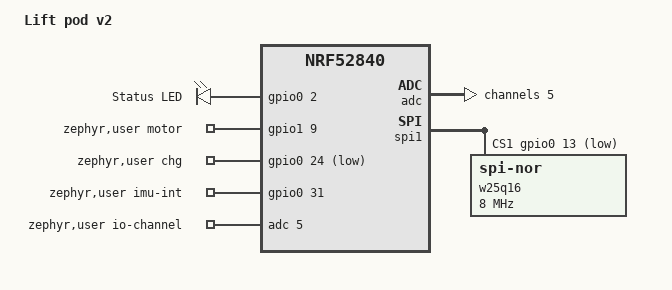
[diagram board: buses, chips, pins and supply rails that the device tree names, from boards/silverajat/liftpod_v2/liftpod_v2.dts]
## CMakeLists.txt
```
# Lift pod v2 firmware. Build (from a nRF Connect SDK workspace with hal_st):
#   west build -b liftpod_v2 firmware/pod -- -DBOARD_ROOT=<repo>/firmware/pod
# The recording format (storage.c) is shared with the XIAO prototype's logger.
cmake_minimum_required(VERSION 3.20.0)
find_package(Zephyr REQUIRED HINTS $ENV{ZEPHYR_BASE})
project(lift_pod)

target_sources(app PRIVATE src/main.c src/imu.c src/ble.c ../logger/src/storage.c)
target_include_directories(app PRIVATE src ../logger/src)
```

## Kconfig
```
# Lift pod v2 firmware
config LIFTPOD
	bool
	default y
	select HAS_STMEMSC
	select USE_STDC_LSM6DSV16X
	help
	  Pulls in ST's LSM6DSV16X register library (hal_st) for src/imu.c.

source "Kconfig.zephyr"
```

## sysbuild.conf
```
# MCUboot in front of the app, so updates can come over Bluetooth.
SB_CONFIG_BOOTLOADER_MCUBOOT=y
```

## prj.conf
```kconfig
# ---- Sensor and flash on SPI ----
CONFIG_SPI=y
CONFIG_FLASH=y
CONFIG_SPI_NOR=y
CONFIG_PM_DEVICE=y
CONFIG_ADC=y
CONFIG_GPIO=y
CONFIG_FPU=y

# ---- No UART, USB or shell on this board: logs over SWD (RTT) for bring-up ----
CONFIG_SERIAL=n
CONFIG_CONSOLE=n
CONFIG_UART_CONSOLE=n
CONFIG_LOG=y
CONFIG_USE_SEGGER_RTT=y
CONFIG_LOG_BACKEND_RTT=y
CONFIG_LOG_BACKEND_UART=n
# keep the whole boot log until a debugger reads it
CONFIG_SEGGER_RTT_BUFFER_SIZE_UP=8192
# Generous stacks: an overflow on a sealed pod is a restart you can't debug. (The Bluetooth receive
# thread runs every GATT callback; its 1 KB default was the tightest.)
CONFIG_MAIN_STACK_SIZE=4096
CONFIG_SYSTEM_WORKQUEUE_STACK_SIZE=3072
CONFIG_BT_RX_STACK_SIZE=2560
CONFIG_BT_TX_PROCESSOR_STACK_SIZE=1536
CONFIG_MPSL_WORK_STACK_SIZE=2048
CONFIG_LOG_PROCESS_THREAD_STACK_SIZE=1536
CONFIG_ISR_STACK_SIZE=3072
CONFIG_IDLE_STACK_SIZE=512

# ---- Bluetooth: same service and name as the prototype ----
CONFIG_BT=y
CONFIG_BT_PERIPHERAL=y
CONFIG_BT_DEVICE_NAME="LiftPod"
CONFIG_BT_MAX_CONN=1
CONFIG_BT_GAP_AUTO_UPDATE_CONN_PARAMS=n
# Big packets for downloading recordings (16 samples per notification)
CONFIG_BT_L2CAP_TX_MTU=247
CONFIG_BT_BUF_ACL_TX_SIZE=251
CONFIG_BT_BUF_ACL_RX_SIZE=251
CONFIG_BT_CTLR_DATA_LENGTH_MAX=251
CONFIG_BT_USER_DATA_LEN_UPDATE=y
CONFIG_BT_USER_PHY_UPDATE=y

# ---- Firmware updates over Bluetooth (MCUboot + MCUmgr SMP) ----
CONFIG_NCS_SAMPLE_MCUMGR_BT_OTA_DFU=y
CONFIG_REBOOT=y
# restart by itself if the firmware ever hangs (fed once a second from the main loop)
CONFIG_WATCHDOG=y
# why it last restarted, reported to the app
CONFIG_HWINFO=y
# the flash driver otherwise spins at full speed while an erase runs, starving everything else
CONFIG_SPI_NOR_SLEEP_WHILE_WAITING_UNTIL_READY=y
```

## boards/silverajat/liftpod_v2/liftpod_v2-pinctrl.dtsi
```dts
&pinctrl {
	spi1_default: spi1_default {
		group1 {
			psels = <NRF_PSEL(SPIM_SCK, 0, 5)>,
				<NRF_PSEL(SPIM_MOSI, 0, 1)>,
				<NRF_PSEL(SPIM_MISO, 0, 0)>;
		};
	};

	spi1_sleep: spi1_sleep {
		group1 {
			psels = <NRF_PSEL(SPIM_SCK, 0, 5)>,
				<NRF_PSEL(SPIM_MOSI, 0, 1)>,
				<NRF_PSEL(SPIM_MISO, 0, 0)>;
			low-power-enable;
		};
	};
};
```

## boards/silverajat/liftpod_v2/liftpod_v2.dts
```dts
/*
 * Lift pod v2 (hardware/pod-v2/SPEC.md): Ebyte E73 nRF52840 module, no USB, no button,
 * no 32 kHz crystal. One SPI bus: LSM6DSV16X IMU (CS P0.30, INT1 P0.31) and W25Q16 2 MB flash
 * (CS P0.13). Green status LED P0.02 (high = on), coin motor P1.09 (high = on, N-FET),
 * charger STAT P0.24 (low = charging), battery on AIN5 through a 1M/1M divider.
 */
/dts-v1/;
#include <nordic/nrf52840_qiaa.dtsi>
#include <nordic/nrf52840_partition.dtsi>
#include "liftpod_v2-pinctrl.dtsi"

/ {
	model = "Lift pod v2";
	compatible = "silverajat,liftpod-v2";

	leds {
		compatible = "gpio-leds";
		led0: led_0 {
			gpios = <&gpio0 2 GPIO_ACTIVE_HIGH>;
			label = "Status LED";
		};
	};

	aliases {
		led0 = &led0;
		rec-flash = &w25q16;
		watchdog0 = &wdt0;
	};

	zephyr,user {
		io-channels = <&adc 5>;
		motor-gpios = <&gpio1 9 GPIO_ACTIVE_HIGH>;
		chg-gpios = <&gpio0 24 (GPIO_ACTIVE_LOW | GPIO_PULL_UP)>;
		imu-int-gpios = <&gpio0 31 GPIO_ACTIVE_HIGH>;
	};
};

&gpiote {
	status = "okay";
};

&gpio0 {
	status = "okay";
};

&gpio1 {
	status = "okay";
};

&adc {
	status = "okay";
	#address-cells = <1>;
	#size-cells = <0>;

	/* VBAT / 2 on P0.29; 1M/1M with 100 nF, so a long acquisition time */
	channel@5 {
		reg = <5>;
		zephyr,gain = "ADC_GAIN_1_6";
		zephyr,reference = "ADC_REF_INTERNAL";
		zephyr,acquisition-time = <ADC_ACQ_TIME(ADC_ACQ_TIME_MICROSECONDS, 40)>;
		zephyr,input-positive = <NRF_SAADC_AIN5>;
		zephyr,resolution = <12>;
		zephyr,oversampling = <4>;
	};
};

&spi1 {
	compatible = "nordic,nrf-spim";
	status = "okay";
	pinctrl-0 = <&spi1_default>;
	pinctrl-1 = <&spi1_sleep>;
	pinctrl-names = "default", "sleep";
	cs-gpios = <&gpio0 30 GPIO_ACTIVE_LOW>, <&gpio0 13 GPIO_ACTIVE_LOW>;

	/* Driven by the firmware's own code (src/imu.c, ST's register library), not Zephyr's
	 * sensor driver: it needs the low-power wake-up mode. */
	imu: imu@0 {
		compatible = "st,lsm6dsv16x";
		status = "disabled";
		reg = <0>;
		spi-max-frequency = <8000000>;
	};

	w25q16: w25q16@1 {
		compatible = "jedec,spi-nor";
		reg = <1>;
		spi-max-frequency = <8000000>;
		jedec-id = [ef 40 15];
		size = <DT_SIZE_M(16)>;   /* bits: 2 MB */
		has-dpd;
		t-enter-dpd = <3000>;
		t-exit-dpd = <30000>;
	};
};

&uart0 {
	status = "disabled";
};

&i2c0 {
	status = "disabled";
};

&usbd {
	status = "disabled";
};

/* The last 1 KB of RAM is kept out of both images (MCUboot and the app): it holds the crash/hang record,
 * which has to survive the restart (src/main.c, RET_ADDR). */
&sram0 {
	reg = <0x20000000 DT_SIZE_K(255)>;
};
```

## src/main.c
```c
/*
 * Lift pod v2 firmware (hardware/pod-v2): the XIAO logger's recording format and Bluetooth
 * protocol, on the custom board, with power management.
 *
 * Asleep (most of the time)
 *   Sensor in low-power wake mode (gyro off, accel at 15 Hz), flash in deep power-down,
 *   CPU idle. Bluetooth advertises once a second, always, so the app can always find it.
 *   (It used to switch between fast, slow and off with movement; stopping and restarting the
 *   adverts around a connection locked up the Bluetooth controller: the restart loop of 28 Nov.)
 * Gym mode (the app sends OP_GYM 1 when a workout starts, or OP_START)
 *   Sensor at full rate, sampled at 100 Hz, live stream to the app, recordings on flash,
 *   fast Bluetooth link. Ends on OP_GYM 0 (workout finished), or GYM_LOST_MIN minutes after
 *   the app went away, or GYM_IDLE_MIN minutes without a set.
 * Always
 *   OP_BUZZ buzzes the motor; OP_READ sends a recording to the phone (no USB on this board);
 *   OP_ERASE clears the flash once the phone has everything. Firmware updates over Bluetooth
 *   (MCUboot + MCUmgr SMP), confirmed once this image has started cleanly.
 *
 * LED: one blink on connect and when gym mode starts, a short blink every 2 s while recording,
 * otherwise off. (The red LED is the charger's own.)
 */
#include <zephyr/device.h>
#include <zephyr/dfu/mcuboot.h>
#include <zephyr/drivers/adc.h>
#include <zephyr/drivers/gpio.h>
#include <zephyr/kernel.h>
#include <zephyr/logging/log.h>
#include <zephyr/pm/device.h>
#include <zephyr/sys/util.h>

#include "ble.h"
#include "imu.h"
#include "storage.h"
#include <zephyr/drivers/watchdog.h>
#include <zephyr/drivers/hwinfo.h>
#include <zephyr/fatal.h>
#include <zephyr/sys/reboot.h>
#include <zephyr/kernel_structs.h>
#include <cmsis_core.h>

LOG_MODULE_REGISTER(pod, LOG_LEVEL_INF);

/* ---- Crash and hang record ---------------------------------------------------------
 * The pod is sealed, so nothing can be read off it with a debugger. If it ever crashes or hangs,
 * what happened is kept in the last 1 KB of RAM (left out of both MCUboot's and this image's memory
 * map in the board file, and RAM keeps its contents through a reset), and reported to the app in
 * the status. A crash restarts it straight away; a hang restarts it after WDT_TIMEOUT_MS. */
#define RET_ADDR  0x2003FC00
#define RET_MAGIC 0x4C504F44u
struct retained {
	uint32_t magic;
	uint8_t restarts, kind, thread, step;
	int8_t prio;
	uint8_t reason;
	uint16_t up_s;
	uint32_t pc, lr;
	uint32_t check;
};
static volatile struct retained *const ret = (volatile struct retained *)RET_ADDR;

static uint32_t ret_sum(void)
{
	return ret->magic ^ (ret->restarts | ret->kind << 8 | ret->thread << 16 | (uint32_t)ret->step << 24) ^
	       ((uint8_t)ret->prio | ret->reason << 8 | (uint32_t)ret->up_s << 16) ^ ret->pc ^ (ret->lr * 3) ^
	       0x5A5A1234u;
}

/* where the main loop is, so a hang says what it was waiting on */
static volatile uint8_t step;
#define STEP(n) (step = (n))
enum { S_TOP = 1, S_CMD, S_LINK, S_IMU, S_TAPS, S_ADV, S_GYMLOST, S_LOCK, S_GYMIDLE, S_BATT, S_BLINK };

static k_tid_t main_tid;
extern const k_tid_t ble_tx;
extern const k_tid_t sampler;

/* 1 main, 2 sampler, 3 status/stream, 4 system work queue, 5 idle, 9 anything else (prio tells which) */
static uint8_t thread_code(k_tid_t t)
{
	return t == main_tid ? 1 : t == sampler ? 2 : t == ble_tx ? 3 : t == &k_sys_work_q.thread ? 4 :
	       t == _kernel.cpus[0].idle_thread ? 5 : 9;
}

static void record(uint8_t kind, uint8_t reason, uint32_t pc, uint32_t lr)
{
	k_tid_t t = k_current_get();

	ret->kind = kind;
	ret->reason = reason;
	ret->thread = thread_code(t);
	ret->prio = (int8_t)t->base.prio;
	ret->step = step;
	ret->up_s = (uint16_t)MIN(k_uptime_get() / 1000, 0xffff);
	ret->pc = pc;
	ret->lr = lr;
	ret->magic = RET_MAGIC;
	ret->check = ret_sum();
}

enum { FAULT_NONE = 0, FAULT_CRASH = 1, FAULT_HANG = 2 };

/* Any crash (bad memory access, stack overflow, a Bluetooth assert): note where, restart now. */
void k_sys_fatal_error_handler(unsigned int reason, const struct arch_esf *esf)
{
	record(FAULT_CRASH, (uint8_t)reason, esf ? esf->basic.pc : 0, esf ? esf->basic.lr : 0);
	sys_reboot(SYS_REBOOT_COLD);
	CODE_UNREACHABLE;
}

/* Watchdog: the main loop feeds it every second. Starved for WDT_TIMEOUT_MS, this runs just before
 * the chip restarts: it notes what was running (and where) and which step the main loop was stuck in. */
#define WDT_TIMEOUT_MS 15000
static const struct device *const wdt = DEVICE_DT_GET(DT_NODELABEL(wdt0));
static int wdt_ch = -1;

static void wdt_fired(const struct device *dev, int channel)
{
	const uint32_t *frame = (const uint32_t *)__get_PSP();   /* the interrupted thread's saved registers */

	ARG_UNUSED(dev);
	ARG_UNUSED(channel);
	record(FAULT_HANG, 0, frame ? frame[6] : 0, frame ? frame[5] : 0);
}

static void wdt_start(void)
{
	struct wdt_timeout_cfg cfg = {
		.window = { .min = 0, .max = WDT_TIMEOUT_MS },
		.flags = WDT_FLAG_RESET_SOC,
		.callback = wdt_fired,
	};

	if (!device_is_ready(wdt)) {
		return;
	}
	wdt_ch = wdt_install_timeout(wdt, &cfg);
	if (wdt_ch < 0 || wdt_setup(wdt, WDT_OPT_PAUSE_HALTED_BY_DBG) != 0) {
		LOG_ERR("watchdog not started");
		wdt_ch = -1;
	}
}

void pod_wdt_feed(void)
{
	if (wdt_ch >= 0) {
		wdt_feed(wdt, wdt_ch);
	}
}

#define SAMPLE_HZ       100     /* same as the prototype: the training data carries over */
#define FW_VERSION      3       /* 3 = pod v2 */
#define STOP_STILL_S    12      /* app gone mid-set: close it after this much stillness */
#define MAX_REC_S       300     /* safety cap per recording */
#define GYM_LOST_MIN    5       /* in gym mode with the app gone this long: back to sleep */
#define GYM_IDLE_MIN    45      /* in gym mode with no set this long (finish forgotten): back to sleep */
#define MOVE_GYRO_DPS   40
#define MOVE_ACCEL_MG   150

/* ---- Hardware ------------------------------------------------------------------- */
static const struct gpio_dt_spec led = GPIO_DT_SPEC_GET(DT_ALIAS(led0), gpios);
static const struct gpio_dt_spec motor = GPIO_DT_SPEC_GET(DT_PATH(zephyr_user), motor_gpios);
static const struct gpio_dt_spec chg = GPIO_DT_SPEC_GET(DT_PATH(zephyr_user), chg_gpios);
static const struct adc_dt_spec batt_adc = ADC_DT_SPEC_GET_BY_IDX(DT_PATH(zephyr_user), 0);
static const struct device *const flash = DEVICE_DT_GET(DT_ALIAS(rec_flash));

/* ---- State ------------------------------------------------------------------------ */
K_MUTEX_DEFINE(store_lock);              /* every storage_* call (also used by ble.c) */
K_SEM_DEFINE(gym_sem, 0, 1);             /* wakes the sampler when gym mode starts */
K_MSGQ_DEFINE(rec_q, sizeof(struct app_cmd), 4, 4);   /* start/stop, handled by the sampler */

static volatile bool gym, fault, imu_ok, busy;
static volatile int batt_cache_mv;
static volatile uint32_t rec_len;
static volatile bool rec_from_app;

/* ---- Flash power: deep power-down whenever nothing needs it ------------------------- */
static void flash_power(bool on)
{
	if (on) {
		/* Always send the wake-up command, even if the driver thinks the chip is already awake: a chip left
		 * in deep power-down answers every status read with "busy", and the driver would wait forever. */
		pm_device_action_run(flash, PM_DEVICE_ACTION_SUSPEND);
		pm_device_action_run(flash, PM_DEVICE_ACTION_RESUME);
	} else {
		pm_device_action_run(flash, PM_DEVICE_ACTION_SUSPEND);
	}
}

void storage_yield(void)
{
	pod_wdt_feed();
}

/* ---- Recording (sampler thread only) ---------------------------------------------- */
static int start_recording(const struct set_label *label)
{
	k_mutex_lock(&store_lock, K_FOREVER);
	int err = storage_begin(SAMPLE_HZ, 0, label);

	k_mutex_unlock(&store_lock);
	if (err) {
		LOG_ERR("could not start recording (%d)", err);
		fault = true;
		return err;
	}
	rec_len = 0;
	rec_from_app = label != NULL;
	ble_status_changed();
	return 0;
}

static void stop_recording(void)
{
	k_mutex_lock(&store_lock, K_FOREVER);
	int err = storage_end();

	k_mutex_unlock(&store_lock);
	fault = fault || err != 0;
	ble_status_changed();
}

static void set_reps(uint32_t id, uint8_t live, uint8_t confirmed)
{
	k_mutex_lock(&store_lock, K_FOREVER);
	storage_set_reps(id, live, confirmed);
	k_mutex_unlock(&store_lock);
}

static bool is_moving(const struct sample *s)
{
	int32_t g2 = 0, a2 = 0;

	for (int i = 0; i < 3; i++) {
		g2 += (int32_t)s->g_ddps[i] * s->g_ddps[i];
		a2 += (int32_t)s->a_mg[i] * s->a_mg[i];
	}
	const int32_t gl = MOVE_GYRO_DPS * 10, lo = 1000 - MOVE_ACCEL_MG, hi = 1000 + MOVE_ACCEL_MG;

	return g2 > gl * gl || a2 < lo * lo || a2 > hi * hi;
}

/* Start/stop from the app, in the sampler so it never races the recording. */
static bool handle_rec_cmds(bool recording)
{
	struct app_cmd c;

	while (k_msgq_get(&rec_q, &c, K_NO_WAIT) == 0) {
		if (c.op == OP_START) {
			if (recording) {
				stop_recording();
				recording = false;
			}
			if (!fault && start_recording(&c.label) == 0) {
				recording = true;
			}
		} else if (c.op == OP_STOP && recording) {
			stop_recording();
			recording = false;
			k_mutex_lock(&store_lock, K_FOREVER);
			uint32_t n = storage_count();

			k_mutex_unlock(&store_lock);
			if (c.reps != 0xff && n > 0) {
				set_reps(n - 1, c.reps, 0xff);
			}
		}
	}
	return recording;
}

K_TIMER_DEFINE(sample_timer, NULL, NULL);

static void sampling_thread(void)
{
	while (true) {
		if (!gym) {
			k_sem_take(&gym_sem, K_FOREVER);
			continue;
		}
		uint32_t still_run = 0;
		bool recording = false;

		k_timer_start(&sample_timer, K_USEC(1000000 / SAMPLE_HZ), K_USEC(1000000 / SAMPLE_HZ));
		while (gym) {
			k_timer_status_sync(&sample_timer);
			struct sample s;

			recording = handle_rec_cmds(recording);
			if (imu_read(&s) != 0) {
				continue;
			}
			still_run = is_moving(&s) ? 0 : still_run + 1;
			ble_stream_sample(&s);
			if (!recording) {
				continue;
			}
			k_mutex_lock(&store_lock, K_FOREVER);
			int err = storage_append(&s);

			k_mutex_unlock(&store_lock);
			rec_len++;
			bool app_lost = !ble_connected() && still_run >= STOP_STILL_S * SAMPLE_HZ;

			if (err || app_lost || rec_len >= MAX_REC_S * SAMPLE_HZ) {
				fault = fault || err != 0;
				stop_recording();
				recording = false;
			}
		}
		k_timer_stop(&sample_timer);
		if (recording) {
			stop_recording();
		}
		k_msgq_purge(&rec_q);
	}
}

K_THREAD_DEFINE(sampler, 3072, sampling_thread, NULL, NULL, NULL, K_PRIO_PREEMPT(2), 0, 0);

/* ---- Battery and charging ------------------------------------------------------------ */
static int batt_mv(void)
{
	int16_t raw;
	struct adc_sequence seq = { .buffer = &raw, .buffer_size = sizeof(raw) };
	int32_t mv;

	adc_sequence_init_dt(&batt_adc, &seq);
	if (adc_read_dt(&batt_adc, &seq) != 0) {
		return -EIO;
	}
	mv = raw;
	if (adc_raw_to_millivolts_dt(&batt_adc, &mv) != 0) {
		return -EIO;
	}
	return mv * 2;               /* 1M / 1M divider */
}

static bool charging(void)
{
	return gpio_pin_get_dt(&chg) == 1;   /* active low in the devicetree */
}

/* Why the pod last started, how many times it has restarted since it was powered up, and what ended
 * the previous run if it crashed or hung (the record above). */
static uint8_t reset_why, restarts;
static struct retained last;

static void note_reset(void)
{
	uint32_t cause = 0;

	hwinfo_get_reset_cause(&cause);
	hwinfo_clear_reset_cause();
	/* no reset flag at all: the power came on (or dipped too low), and RAM holds nothing worth reading */
	bool valid = cause != 0 && ret->magic == RET_MAGIC && ret->check == ret_sum();

	if (cause & RESET_WATCHDOG) {
		reset_why = RST_WATCHDOG;
	} else if (cause & RESET_CPU_LOCKUP) {
		reset_why = RST_LOCKUP;
	} else if (cause & RESET_SOFTWARE) {
		reset_why = RST_SOFT;
	} else if (cause & RESET_PIN) {
		reset_why = RST_PIN;
	} else if (cause == 0) {
		reset_why = RST_POWER;
	} else {
		reset_why = RST_OTHER;
	}
	if (valid) {
		last = *(struct retained *)ret;
		restarts = MIN(last.restarts + 1, 0x7f);
	} else {
		memset(&last, 0, sizeof(last));
		restarts = 0;
	}
	ret->restarts = restarts;
	ret->kind = FAULT_NONE;
	ret->magic = RET_MAGIC;
	ret->check = ret_sum();
	LOG_INF("started: reason %u (cause 0x%x), restart %u, last fault %u in %u/%u at 0x%08x", reset_why, cause,
		restarts, last.kind, last.thread, last.step, last.pc);
}

void pod_fill_status(struct pod_status *st)
{
	k_mutex_lock(&store_lock, K_FOREVER);
	bool rec = storage_recording();
	uint32_t n = storage_count();
	uint32_t used = storage_bytes_used(), total = storage_bytes_total();

	k_mutex_unlock(&store_lock);
	*st = (struct pod_status){
		.proto = POD_PROTO_VERSION,
		.flags = (rec ? ST_RECORDING : 0) | (charging() ? ST_CHARGING : 0) |
			 (fault ? ST_FAULT : 0) | (imu_ok ? ST_IMU_OK : 0) |
			 (rec && rec_from_app ? ST_APP_REC : 0) | (gym ? ST_GYM : 0),
		.batt_mv = (uint16_t)MAX(batt_cache_mv, 0),
		.n_recs = (uint16_t)n,
		.last_rec = n ? (uint16_t)(n - 1) : 0xffff,
		.rec_samples = rec ? rec_len : 0,
		.flash_pct = total ? (uint8_t)(used * 100ull / total) : 0,
		.fw = FW_VERSION,
		.hw = POD_HW,
		.busy = busy,
		.taps = imu_taps(),
		.uptime_s = (uint32_t)(k_uptime_get() / 1000),
		.reset_why = reset_why,
		.restarts = restarts,
		.fault_kind = last.kind,
		.fault_thread = last.thread,
		.fault_step = last.step,
		.fault_reason = last.reason,
		.fault_prio = last.prio,
		.fault_up_s = last.up_s,
		.fault_pc = last.pc,
	};
}

/* ---- Modes ----------------------------------------------------------------------------- */
static void blink(int ms)
{
	gpio_pin_set_dt(&led, 1);
	k_msleep(ms);
	gpio_pin_set_dt(&led, 0);
}

static void buzz(int count)
{
	for (int i = 0; i < count; i++) {
		gpio_pin_set_dt(&motor, 1);
		k_msleep(180);
		gpio_pin_set_dt(&motor, 0);
		k_msleep(150);
	}
}

static void set_gym(bool on)
{
	if (on == gym) {
		return;
	}
	if (on) {
		flash_power(true);
		if (imu_ok) {
			imu_active(true);
		}
		gym = true;
		k_sem_give(&gym_sem);
		ble_fast_link(true);
		blink(60);
	} else {
		gym = false;                       /* the sampler closes any open recording */
		k_msleep(50);
		/* and don't put the flash to sleep under it while it's still closing one (up to 2 s) */
		for (int i = 0; i < 40; i++) {
			k_mutex_lock(&store_lock, K_FOREVER);
			bool open = storage_recording();

			k_mutex_unlock(&store_lock);
			if (!open) {
				break;
			}
			k_msleep(50);
		}
		if (imu_ok) {
			imu_active(false);
		}
		k_mutex_lock(&store_lock, K_FOREVER);
		flash_power(false);
		k_mutex_unlock(&store_lock);
		ble_fast_link(false);
	}
	LOG_INF("gym mode %s", on ? "on" : "off");
	ble_status_changed();
}

static int64_t last_set;          /* last start/stop/gym-on from the app */

/* Commands that aren't start/stop run here, in the main thread. */
static void handle_cmd(const struct app_cmd *c)
{
	if (c->op == OP_START || c->op == OP_STOP || (c->op == OP_GYM && c->on)) {
		last_set = k_uptime_get();
	}
	switch (c->op) {
	case OP_START:
		set_gym(true);
		k_msgq_put(&rec_q, c, K_NO_WAIT);
		break;
	case OP_STOP:
		k_msgq_put(&rec_q, c, K_NO_WAIT);
		break;
	case OP_CONFIRM:
		flash_power(true);
		set_reps(c->rec_id, 0xff, c->reps);
		if (!gym) {
			flash_power(false);
		}
		break;
	case OP_GYM:
		set_gym(c->on);
		break;
	case OP_BUZZ:
		buzz(c->reps);
		break;
	case OP_READ: {
		busy = true;
		ble_status_changed();
		flash_power(true);
		ble_fast_link(true);
		int err = ble_send_recording(c->rec_id, c->from);

		if (err) {
			LOG_WRN("sending recording %u failed (%d)", c->rec_id, err);
		}
		if (!gym) {
			flash_power(false);
			ble_fast_link(false);
		}
		busy = false;
		break;
	}
	case OP_ERASE:
		if (gym) {
			break;                         /* never while a workout could be recording */
		}
		busy = true;
		ble_status_changed();
		flash_power(true);
		k_mutex_lock(&store_lock, K_FOREVER);
		fault = storage_erase_all() != 0;
		k_mutex_unlock(&store_lock);
		flash_power(false);
		busy = false;
		break;
	default:
		break;                             /* OP_AUTO: no motion-triggered recording on v2 */
	}
	ble_status_changed();
}

int main(void)
{
	main_tid = k_current_get();
	note_reset();
	gpio_pin_configure_dt(&led, GPIO_OUTPUT_INACTIVE);
	gpio_pin_configure_dt(&motor, GPIO_OUTPUT_INACTIVE);
	gpio_pin_configure_dt(&chg, GPIO_INPUT);
	adc_channel_setup_dt(&batt_adc);

	k_mutex_lock(&store_lock, K_FOREVER);
	fault = storage_init() != 0;
	k_mutex_unlock(&store_lock);
	flash_power(false);

	imu_ok = imu_init() == 0;
	if (!imu_ok) {
		LOG_ERR("IMU did not start (WHO_AM_I %d)", imu_who_am_i());
	}
	batt_cache_mv = batt_mv();
	int bt = ble_init();

	/* A fresh update is only kept once it has started cleanly; otherwise MCUboot rolls back. */
	bool new_image = !boot_is_img_confirmed();

	if (bt == 0 && imu_ok) {
		boot_write_img_confirmed();
	}
	/* Hello blink and buzz only when you'd expect one: first power-up, or a new firmware. A restart on its own
	 * (the watchdog, a crash) stays silent, so a fault can never turn into buzzing on your wrist; the reason
	 * and the count go to the app instead (Settings). And no buzz on a nearly flat cell, which could dip it
	 * enough to restart again. */
	if (reset_why == RST_POWER || reset_why == RST_PIN || new_image) {
		blink(200);
		if (batt_cache_mv == 0 || batt_cache_mv > 3500) {
			buzz(1);
		}
	}

	int64_t last_app = k_uptime_get();
	bool was_connected = false;
	uint8_t seen_taps = imu_taps();

	wdt_start();
	for (uint32_t t = 0;; t++) {
		struct app_cmd c;

		pod_wdt_feed();
		STEP(S_TOP);

		/* one tick a second, sooner when the app sends something */
		if (ble_get_cmd(&c, K_SECONDS(1))) {
			STEP(S_CMD);
			handle_cmd(&c);
			last_app = k_uptime_get();
			continue;
		}
		int64_t now = k_uptime_get();
		bool connected = ble_connected();

		if (connected) {
			last_app = now;
			if (!was_connected) {
				blink(40);
			}
		}
		was_connected = connected;
		/* (No link-speed request on connect: the app only stays connected in the gym, and that request
		 * is the one change in the build where the restarts began.) */
		STEP(S_IMU);
		imu_poll();
		/* tapped twice: tell the app now (it ends the set) and buzz once so you know it took */
		STEP(S_TAPS);
		uint8_t taps = imu_taps();

		if (taps != seen_taps) {
			seen_taps = taps;
			ble_status_changed();
			gpio_pin_set_dt(&motor, 1);
			k_msleep(70);
			gpio_pin_set_dt(&motor, 0);
		}
		(void)imu_take_wake();   /* motion no longer changes anything here (see ble.c, advertising) */

		STEP(S_GYMLOST);
		/* gym mode with the app gone: back to sleep */
		if (gym && !connected && now - last_app > GYM_LOST_MIN * 60 * 1000LL) {
			set_gym(false);
		}
		STEP(S_LOCK);
		k_mutex_lock(&store_lock, K_FOREVER);
		bool rec = storage_recording();
		k_mutex_unlock(&store_lock);

		STEP(S_GYMIDLE);
		/* gym mode but no set for ages (workout never finished in the app): back to sleep */
		if (gym && !rec && now - last_set > GYM_IDLE_MIN * 60 * 1000LL) {
			set_gym(false);
		}

		/* battery: every 10 s in the gym, every minute otherwise */
		STEP(S_BATT);
		if (t % (gym ? 10 : 60) == 0) {
			batt_cache_mv = batt_mv();
		}
		STEP(S_BLINK);
		if (rec && t % 2 == 0) {
			blink(15);
		}
		if ((fault || !imu_ok) && t % 5 == 0) {
			blink(15);
			k_msleep(150);
			blink(15);
		}
	}
	return 0;
}
```

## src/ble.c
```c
/*
 * ble.c - "Lift Pod" GATT service for pod v2. See ble.h for the protocol.
 *
 * Writes from the phone go into a queue that the command thread (main.c) drains.
 * Status and the live stream go out from a low-priority thread, so the radio never delays
 * sampling. Recordings go out on Data from the command thread, a few notifications in flight
 * at a time, so a long download can't starve the stream or status.
 */
#include "ble.h"

#include <string.h>
#include <zephyr/bluetooth/bluetooth.h>
#include <zephyr/bluetooth/conn.h>
#include <zephyr/bluetooth/gatt.h>
#include <zephyr/bluetooth/uuid.h>
#include <zephyr/kernel.h>
#include <zephyr/logging/log.h>
#include <zephyr/sys/byteorder.h>

LOG_MODULE_REGISTER(ble, LOG_LEVEL_INF);

#define LT_UUID(n) BT_UUID_128_ENCODE(0x4c540000 + (n), 0x7c3e, 0x4f6b, 0x9a1e, 0x5f2b6c0d4e11)

static const struct bt_uuid_128 svc_uuid = BT_UUID_INIT_128(LT_UUID(1));
static const struct bt_uuid_128 ctrl_uuid = BT_UUID_INIT_128(LT_UUID(2));
static const struct bt_uuid_128 status_uuid = BT_UUID_INIT_128(LT_UUID(3));
static const struct bt_uuid_128 stream_uuid = BT_UUID_INIT_128(LT_UUID(4));
static const struct bt_uuid_128 data_uuid = BT_UUID_INIT_128(LT_UUID(5));

K_MSGQ_DEFINE(cmd_q, sizeof(struct app_cmd), 8, 4);
K_MSGQ_DEFINE(stream_q, sizeof(struct stream_pkt), 16, 2);
K_SEM_DEFINE(status_sem, 0, 1);
K_SEM_DEFINE(data_credits, 4, 4);        /* notifications in flight on Data */

static struct bt_conn *conn;
static struct k_spinlock conn_lock;
static volatile bool status_on, stream_on, data_on;
static uint16_t stream_seq;
static uint32_t stream_div;

/* ---- Control ------------------------------------------------------------------ */
static ssize_t ctrl_write(struct bt_conn *c, const struct bt_gatt_attr *attr,
			  const void *buf, uint16_t len, uint16_t offset, uint8_t flags)
{
	const uint8_t *p = buf;
	struct app_cmd cmd = { 0 };

	if (offset != 0 || len < 1) {
		return BT_GATT_ERR(BT_ATT_ERR_INVALID_ATTRIBUTE_LEN);
	}
	cmd.op = p[0];
	switch (p[0]) {
	case OP_START: {
		struct op_start s;

		if (len < sizeof(s)) {
			return BT_GATT_ERR(BT_ATT_ERR_INVALID_ATTRIBUTE_LEN);
		}
		memcpy(&s, p, sizeof(s));
		cmd.label = (struct set_label){
			.unix_time = s.unix_time,
			.session_id = s.session_id,
			.weight_cg = s.weight_cg,
			.exercise = s.exercise,
			.day = s.day,
			.set_no = s.set_no,
			.flags = (s.flags & (LABEL_WARMUP | LABEL_CALIB)) | LABEL_FROM_APP,
			.rsvd = 0xffff,
		};
		break;
	}
	case OP_STOP:
		cmd.reps = len >= 2 ? p[1] : 0xff;
		break;
	case OP_CONFIRM:
		if (len < 4) {
			return BT_GATT_ERR(BT_ATT_ERR_INVALID_ATTRIBUTE_LEN);
		}
		cmd.rec_id = sys_get_le16(&p[1]);
		cmd.reps = p[3];
		break;
	case OP_AUTO:
	case OP_GYM:
		if (len < 2) {
			return BT_GATT_ERR(BT_ATT_ERR_INVALID_ATTRIBUTE_LEN);
		}
		cmd.on = p[1] != 0;
		break;
	case OP_BUZZ:
		cmd.reps = len >= 2 ? MIN(p[1], 5) : 1;
		break;
	case OP_READ:
		if (len < 7) {
			return BT_GATT_ERR(BT_ATT_ERR_INVALID_ATTRIBUTE_LEN);
		}
		cmd.rec_id = sys_get_le16(&p[1]);
		cmd.from = sys_get_le32(&p[3]);
		break;
	case OP_ERASE:
		if (len < 2 || p[1] != 0xE5) {     /* a magic byte, so a stray write can't wipe it */
			return BT_GATT_ERR(BT_ATT_ERR_VALUE_NOT_ALLOWED);
		}
		break;
	default:
		return BT_GATT_ERR(BT_ATT_ERR_NOT_SUPPORTED);
	}
	if (k_msgq_put(&cmd_q, &cmd, K_NO_WAIT) != 0) {
		return BT_GATT_ERR(BT_ATT_ERR_PREPARE_QUEUE_FULL);
	}
	return len;
}

static ssize_t status_read(struct bt_conn *c, const struct bt_gatt_attr *attr,
			   void *buf, uint16_t len, uint16_t offset)
{
	struct pod_status st;

	pod_fill_status(&st);
	return bt_gatt_attr_read(c, attr, buf, len, offset, &st, sizeof(st));
}

static void status_ccc(const struct bt_gatt_attr *attr, uint16_t value)
{
	status_on = value == BT_GATT_CCC_NOTIFY;
	ble_status_changed();
}

static void stream_ccc(const struct bt_gatt_attr *attr, uint16_t value)
{
	stream_on = value == BT_GATT_CCC_NOTIFY;
}

static void data_ccc(const struct bt_gatt_attr *attr, uint16_t value)
{
	data_on = value == BT_GATT_CCC_NOTIFY;
}

/* attrs: 0 service | 1,2 control | 3,4,5 status | 6,7,8 stream | 9,10,11 data */
BT_GATT_SERVICE_DEFINE(pod_svc,
	BT_GATT_PRIMARY_SERVICE(&svc_uuid),
	BT_GATT_CHARACTERISTIC(&ctrl_uuid.uuid,
			       BT_GATT_CHRC_WRITE | BT_GATT_CHRC_WRITE_WITHOUT_RESP,
			       BT_GATT_PERM_WRITE, NULL, ctrl_write, NULL),
	BT_GATT_CHARACTERISTIC(&status_uuid.uuid,
			       BT_GATT_CHRC_READ | BT_GATT_CHRC_NOTIFY,
			       BT_GATT_PERM_READ, status_read, NULL, NULL),
	BT_GATT_CCC(status_ccc, BT_GATT_PERM_READ | BT_GATT_PERM_WRITE),
	BT_GATT_CHARACTERISTIC(&stream_uuid.uuid, BT_GATT_CHRC_NOTIFY,
			       BT_GATT_PERM_NONE, NULL, NULL, NULL),
	BT_GATT_CCC(stream_ccc, BT_GATT_PERM_READ | BT_GATT_PERM_WRITE),
	BT_GATT_CHARACTERISTIC(&data_uuid.uuid, BT_GATT_CHRC_NOTIFY,
			       BT_GATT_PERM_NONE, NULL, NULL, NULL),
	BT_GATT_CCC(data_ccc, BT_GATT_PERM_READ | BT_GATT_PERM_WRITE),
);

/* ---- Advertising ---------------------------------------------------------------- */
static const struct bt_data ad[] = {
	BT_DATA_BYTES(BT_DATA_FLAGS, (BT_LE_AD_GENERAL | BT_LE_AD_NO_BREDR)),
	BT_DATA_BYTES(BT_DATA_UUID128_ALL, LT_UUID(1)),
};

static const struct bt_data sd[] = {
	BT_DATA(BT_DATA_NAME_COMPLETE, CONFIG_BT_DEVICE_NAME, sizeof(CONFIG_BT_DEVICE_NAME) - 1),
};

/* One advert a second (~10-20 uA), connectable, started once at boot and again only after a disconnect
 * (the stack doesn't resume it on its own). Never stopped or switched between rates: stopping and
 * restarting adverts while the phone was connecting or letting go locked up the controller (the hang
 * the crash record caught on 28 Nov was inside its advertising on/off command). */
#define ADV_PARAM BT_LE_ADV_PARAM(BT_LE_ADV_OPT_CONN, BT_GAP_ADV_SLOW_INT_MIN, BT_GAP_ADV_SLOW_INT_MAX, NULL)

static void adv_apply(struct k_work *w)
{
	if (conn) {
		return;
	}
	int err = bt_le_adv_start(ADV_PARAM, ad, ARRAY_SIZE(ad), sd, ARRAY_SIZE(sd));

	if (err && err != -EALREADY) {
		LOG_ERR("advertising failed (%d)", err);
	} else {
		LOG_INF("advertising");
	}
}
K_WORK_DEFINE(adv_work, adv_apply);

/* ---- Connections ------------------------------------------------------------------ */
static struct bt_conn *conn_get(void)
{
	k_spinlock_key_t key = k_spin_lock(&conn_lock);
	struct bt_conn *c = conn ? bt_conn_ref(conn) : NULL;

	k_spin_unlock(&conn_lock, key);
	return c;
}

static void on_connected(struct bt_conn *c, uint8_t err)
{
	if (err) {
		return;
	}
	k_spinlock_key_t key = k_spin_lock(&conn_lock);

	conn = bt_conn_ref(c);
	k_spin_unlock(&conn_lock, key);
	LOG_INF("app connected");
	ble_status_changed();
}

static void on_disconnected(struct bt_conn *c, uint8_t reason)
{
	LOG_INF("app disconnected (0x%02x)", reason);
	k_spinlock_key_t key = k_spin_lock(&conn_lock);
	struct bt_conn *old = conn;

	conn = NULL;
	status_on = stream_on = data_on = false;
	k_spin_unlock(&conn_lock, key);
	if (old) {
		bt_conn_unref(old);
	}
	/* free any download that was waiting on credits */
	for (int i = 0; i < 4; i++) {
		k_sem_give(&data_credits);
	}
}

static void on_recycled(void)
{
	k_work_submit(&adv_work);
}

BT_CONN_CB_DEFINE(conn_cbs) = {
	.connected = on_connected,
	.disconnected = on_disconnected,
	.recycled = on_recycled,
};

void ble_fast_link(bool fast)
{
	struct bt_conn *c = conn_get();

	if (!c) {
		return;
	}
	/* 15-30 ms for the live stream and downloads; 100-200 ms with latency 4 otherwise. */
	const struct bt_le_conn_param *p = fast ? BT_LE_CONN_PARAM(12, 24, 0, 400)
						: BT_LE_CONN_PARAM(80, 160, 4, 600);

	bt_conn_le_param_update(c, p);
	bt_conn_unref(c);
}

/* ---- Public API ------------------------------------------------------------------- */
bool ble_connected(void)
{
	return conn != NULL;
}

bool ble_get_cmd(struct app_cmd *out, k_timeout_t wait)
{
	return k_msgq_get(&cmd_q, out, wait) == 0;
}

void ble_stream_sample(const struct sample *s)
{
	if (!stream_on || ++stream_div < 4) {
		return;
	}
	stream_div = 0;

	struct stream_pkt p = { .seq = stream_seq++ };

	memcpy(p.a_mg, s->a_mg, sizeof(p.a_mg));
	memcpy(p.g_ddps, s->g_ddps, sizeof(p.g_ddps));
	k_msgq_put(&stream_q, &p, K_NO_WAIT);
}

void ble_status_changed(void)
{
	k_sem_give(&status_sem);
}

/* ---- Recordings to the phone ------------------------------------------------------ */
static void data_sent(struct bt_conn *c, void *user_data)
{
	k_sem_give(&data_credits);
}

static int data_notify(struct bt_conn *c, const void *buf, uint16_t len)
{
	if (k_sem_take(&data_credits, K_SECONDS(5)) != 0 || !data_on) {
		return -ETIMEDOUT;
	}
	struct bt_gatt_notify_params np = {
		.attr = &pod_svc.attrs[10],
		.data = buf,
		.len = len,
		.func = data_sent,
	};
	int err;

	/* the stack can be short of buffers for a moment: retry briefly */
	for (int i = 0; i < 50; i++) {
		err = bt_gatt_notify_cb(c, &np);
		if (err != -ENOMEM) {
			break;
		}
		k_msleep(5);
	}
	if (err) {
		k_sem_give(&data_credits);
	}
	return err;
}

/* storage.c, guarded by main.c's lock */
extern struct k_mutex store_lock;

int ble_send_recording(uint16_t rec_id, uint32_t from)
{
	static uint8_t buf[247];
	struct data_pkt *pk = (struct data_pkt *)buf;
	struct bt_conn *c = conn_get();
	struct rec_info r;
	int err = 0;

	if (!c) {
		return -ENOTCONN;
	}
	uint16_t mtu = bt_gatt_get_mtu(c);
	uint16_t room = MIN((uint16_t)(mtu - 3), sizeof(buf)) - sizeof(struct data_pkt);
	uint8_t per = MAX(1, room / sizeof(struct sample));

	k_mutex_lock(&store_lock, K_FOREVER);
	err = storage_get(rec_id, &r);
	struct data_info info = { 0 };

	if (!err) {
		info = (struct data_info){
			.rec_id = r.rec_id, .n_samples = r.n_samples, .pretrigger = r.pretrigger,
			.start_uptime_s = r.start_uptime_s, .sample_hz = r.sample_hz,
		};
		storage_get_label(rec_id, &info.label, &info.result);
	}
	k_mutex_unlock(&store_lock);

	*pk = (struct data_pkt){ .rec_id = rec_id, .kind = err ? DATA_ERROR : DATA_HEADER, .index = 0 };
	memcpy(pk->payload, &info, sizeof(info));
	err = data_notify(c, buf, sizeof(*pk) + (pk->kind == DATA_HEADER ? sizeof(info) : 0)) ?: err;
	if (err || pk->kind == DATA_ERROR) {
		bt_conn_unref(c);
		return err ? err : -ENOENT;
	}

	uint32_t i = from;

	while (i < r.n_samples) {
		pod_wdt_feed();
		uint8_t n = (uint8_t)MIN(per, r.n_samples - i);

		*pk = (struct data_pkt){ .rec_id = rec_id, .kind = DATA_SAMPLES, .n = n, .index = i };
		k_mutex_lock(&store_lock, K_FOREVER);
		for (uint8_t k = 0; k < n && !err; k++) {
			err = storage_read_sample(&r, i + k, (struct sample *)&pk->payload[k * sizeof(struct sample)]);
		}
		k_mutex_unlock(&store_lock);
		if (err || (err = data_notify(c, buf, sizeof(*pk) + n * sizeof(struct sample))) != 0) {
			break;
		}
		i += n;
	}
	*pk = (struct data_pkt){ .rec_id = rec_id, .kind = err ? DATA_ERROR : DATA_END, .index = i };
	data_notify(c, buf, sizeof(*pk));
	bt_conn_unref(c);
	return err;
}

/* ---- Status and stream thread ------------------------------------------------------ */
static void ble_thread(void)
{
	int64_t next_status = 0;

	while (true) {
		struct stream_pkt p;

		if (!conn) {      /* nothing to send: sleep until something pokes us (a connection does) */
			k_sem_take(&status_sem, K_FOREVER);
			next_status = 0;
			continue;
		}
		bool got = k_msgq_get(&stream_q, &p, K_MSEC(250)) == 0;
		bool poke = k_sem_take(&status_sem, K_NO_WAIT) == 0;
		struct bt_conn *c = conn_get();

		if (!c) {
			continue;
		}
		if (got && stream_on) {
			bt_gatt_notify(c, &pod_svc.attrs[7], &p, sizeof(p));
		}
		if ((poke || k_uptime_get() >= next_status) && status_on) {
			struct pod_status st;

			pod_fill_status(&st);
			/* the diagnostics at the end only fit once the phone has asked for a bigger MTU */
			bt_gatt_notify(c, &pod_svc.attrs[4], &st, MIN(sizeof(st), bt_gatt_get_mtu(c) - 3));
			next_status = k_uptime_get() + 1000;
		}
		bt_conn_unref(c);
	}
}

K_THREAD_DEFINE(ble_tx, 2048, ble_thread, NULL, NULL, NULL, K_PRIO_PREEMPT(8), 0, 2000);

int ble_init(void)
{
	int err = bt_enable(NULL);

	if (err) {
		LOG_ERR("bluetooth init failed (%d)", err);
		return err;
	}
	k_work_submit(&adv_work);
	return 0;
}
```

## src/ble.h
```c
/*
 * ble.h - Bluetooth LE link to the phone app (pod v2).
 *
 * Same "Lift Pod" GATT service as the XIAO prototype (firmware/logger/src/ble.h), so the app
 * talks to both; protocol version 2 adds the ops and the Data characteristic marked "v2".
 *
 *   Control  (write)          commands from the app
 *   Status   (read, notify)   struct pod_status, ~1/s while subscribed
 *   Stream   (notify)         live IMU at STREAM_HZ in gym mode: struct stream_pkt
 *   Data     (notify)  v2     a recording sent to the phone after OP_READ: struct data_pkt
 *
 * UUIDs: 4c54000N-7c3e-4f6b-9a1e-5f2b6c0d4e11, N = 1 service, 2 control, 3 status, 4 stream,
 * 5 data. Keep in sync with app/android (PodProtocol.kt). Firmware updates go through the
 * standard MCUmgr SMP service (MCUboot), next to this one.
 */
#ifndef BLE_H_
#define BLE_H_

#include <stdbool.h>
#include <stdint.h>
#include <zephyr/kernel.h>
#include "storage.h"

#define POD_PROTO_VERSION 2
#define POD_HW            2      /* status.hw: 0/1 = XIAO prototype, 2 = pod v2 */
#define STREAM_HZ         25     /* SAMPLE_HZ / 4 */

enum pod_op {
	OP_START   = 0x01,  /* struct op_start: begin a labelled recording (gym mode turns on) */
	OP_STOP    = 0x02,  /* [op][reps_live]: end it (reps 0xFF = unknown) */
	OP_CONFIRM = 0x03,  /* [op][rec_id u16][reps]: rep count you confirmed */
	OP_AUTO    = 0x04,  /* [op][0|1]: accepted, no effect: v2 only records when the app says */
	OP_GYM     = 0x05,  /* v2 [op][0|1]: full-rate sensor + fast link on / back to sleep */
	OP_BUZZ    = 0x06,  /* v2 [op][count]: buzz count times (1 = rest over, 2 = set starting) */
	OP_READ    = 0x07,  /* v2 [op][rec_id u16][from u32]: send recording rec_id on Data */
	OP_ERASE   = 0x08,  /* v2 [op][0xE5]: erase all recordings (after the phone saved them) */
};

struct __packed op_start {
	uint8_t op;            /* OP_START */
	uint8_t exercise;
	uint8_t day;
	uint8_t set_no;
	uint8_t flags;         /* LABEL_WARMUP | LABEL_CALIB */
	uint16_t weight_cg;    /* 0.01 kg */
	uint32_t unix_time;
	uint32_t session_id;
};                             /* 15 bytes */

#define ST_RECORDING  BIT(0)
#define ST_USB        BIT(1)   /* prototype only */
#define ST_CHARGING   BIT(2)
#define ST_FAULT      BIT(3)
#define ST_IMU_OK     BIT(4)
#define ST_AUTO       BIT(5)
#define ST_APP_REC    BIT(6)
#define ST_GYM        BIT(7)   /* v2: gym mode (full-rate sensor) */

struct __packed pod_status {
	uint8_t proto;         /* POD_PROTO_VERSION */
	uint8_t flags;         /* ST_* */
	uint16_t batt_mv;
	uint16_t n_recs;       /* recordings on flash */
	uint16_t last_rec;     /* id of the newest finished recording, 0xFFFF none */
	uint32_t rec_samples;  /* samples in the open recording */
	uint8_t flash_pct;     /* flash used, % */
	uint8_t fw;            /* firmware version */
	uint8_t hw;            /* v2: POD_HW (was a 0 reserved byte on the prototype) */
	uint8_t busy;          /* v2: 1 while erasing or sending a recording */
	uint8_t taps;          /* v2: double taps in gym mode, counting up (wraps at 256): end the set */
	uint32_t uptime_s;     /* v2.1: seconds since the pod last started */
	uint8_t reset_why;     /* v2.1: why it last started, enum pod_reset */
	uint8_t restarts;      /* v2.1: restarts since it was last powered up (saturates at 127) */
	uint8_t fault_kind;    /* v2.2: what ended the previous run: 0 nothing, 1 crash, 2 hang (watchdog) */
	uint8_t fault_thread;  /* v2.2: 1 main, 2 sampler, 3 status/stream, 4 work queue, 5 idle, 9 other */
	uint8_t fault_step;    /* v2.2: where the main loop was */
	uint8_t fault_reason;  /* v2.2: Zephyr's fatal error reason (crash) */
	int8_t fault_prio;     /* v2.2: priority of the thread that was running */
	uint16_t fault_up_s;   /* v2.2: how long that run had lasted */
	uint32_t fault_pc;     /* v2.2: code address it was at */
};                             /* 33 bytes */

enum pod_reset { RST_POWER = 0, RST_PIN = 1, RST_WATCHDOG = 2, RST_SOFT = 3, RST_LOCKUP = 4, RST_OTHER = 5 };

struct __packed stream_pkt {
	uint16_t seq;
	int16_t a_mg[3];
	int16_t g_ddps[3];
};                             /* 14 bytes */

/* Data packets for OP_READ: a header, then samples, then an end marker. */
enum data_kind { DATA_HEADER = 0, DATA_SAMPLES = 1, DATA_END = 2, DATA_ERROR = 3 };

struct __packed data_info {    /* payload of DATA_HEADER */
	uint32_t rec_id;
	uint32_t n_samples;
	uint32_t pretrigger;
	uint32_t start_uptime_s;
	uint16_t sample_hz;
	struct set_label label;
	struct set_result result;
};

struct __packed data_pkt {
	uint16_t rec_id;
	uint8_t kind;          /* enum data_kind */
	uint8_t n;             /* samples in this packet (DATA_SAMPLES) */
	uint32_t index;        /* first sample's index; DATA_END: total sent */
	uint8_t payload[];     /* struct data_info or n x struct sample */
};

struct app_cmd {
	uint8_t op;
	uint8_t reps;
	uint8_t on;
	uint16_t rec_id;
	uint32_t from;
	struct set_label label;
};


int ble_init(void);
bool ble_connected(void);
bool ble_get_cmd(struct app_cmd *out, k_timeout_t wait);
void ble_stream_sample(const struct sample *s);
void ble_status_changed(void);
void ble_fast_link(bool fast);      /* short connection interval (gym, downloads) or a lazy one */
int ble_send_recording(uint16_t rec_id, uint32_t from);
void pod_wdt_feed(void);   /* main.c: keep the watchdog happy during long work */   /* blocks until sent; runs in the cmd thread */

/* Implemented in main.c */
void pod_fill_status(struct pod_status *st);

#endif /* BLE_H_ */
```

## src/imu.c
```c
/*
 * imu.c - LSM6DSV16X driver for the pod, on ST's register library (lsm6dsv16x_reg.c).
 * See imu.h.
 */
#include "imu.h"

#include <zephyr/device.h>
#include <zephyr/drivers/gpio.h>
#include <zephyr/drivers/spi.h>
#include <zephyr/kernel.h>
#include <zephyr/logging/log.h>
#include <zephyr/sys/util.h>

#include "lsm6dsv16x_reg.h"
#include "ble.h"

LOG_MODULE_REGISTER(imu, LOG_LEVEL_INF);

#define IMU_NODE DT_NODELABEL(imu)

/* ST's IMUs talk SPI mode 3 (they also accept mode 0). */
static const struct spi_dt_spec bus = SPI_DT_SPEC_GET(IMU_NODE,
	SPI_OP_MODE_MASTER | SPI_WORD_SET(8) | SPI_TRANSFER_MSB | SPI_MODE_CPOL | SPI_MODE_CPHA);
static const struct gpio_dt_spec int1 = GPIO_DT_SPEC_GET(DT_PATH(zephyr_user), imu_int_gpios);
static struct gpio_callback int1_cb;
static atomic_t woke;
static atomic_t taps;                /* double taps since boot (wraps at 256 in the status) */
static atomic_t gym_on;

/* ---- SPI glue for ST's library ------------------------------------------------ */
static int32_t plat_write(void *h, uint8_t reg, const uint8_t *buf, uint16_t len)
{
	uint8_t r = reg & 0x7f;
	const struct spi_buf tx[2] = { { .buf = &r, .len = 1 }, { .buf = (void *)buf, .len = len } };
	const struct spi_buf_set txs = { .buffers = tx, .count = 2 };

	ARG_UNUSED(h);
	return spi_write_dt(&bus, &txs);
}

static int32_t plat_read(void *h, uint8_t reg, uint8_t *buf, uint16_t len)
{
	uint8_t r = reg | 0x80;      /* read */
	const struct spi_buf tx[1] = { { .buf = &r, .len = 1 } };
	const struct spi_buf rx[2] = { { .buf = NULL, .len = 1 }, { .buf = buf, .len = len } };
	const struct spi_buf_set txs = { .buffers = tx, .count = 1 };
	const struct spi_buf_set rxs = { .buffers = rx, .count = 2 };

	ARG_UNUSED(h);
	return spi_transceive_dt(&bus, &txs, &rxs);
}

static void plat_delay(uint32_t ms)
{
	k_msleep(ms);
}

static stmdev_ctx_t ctx = {
	.write_reg = plat_write,
	.read_reg = plat_read,
	.mdelay = plat_delay,
};

/* INT1 is latched: read what fired (that clears it) off the interrupt, in the work queue. */
static void int1_work_fn(struct k_work *w)
{
	lsm6dsv16x_all_sources_t src;

	ARG_UNUSED(w);
	if (lsm6dsv16x_all_sources_get(&ctx, &src) != 0) {
		return;
	}
	if (src.double_tap && atomic_get(&gym_on)) {
		atomic_inc(&taps);
		ble_status_changed();        /* the app hears about it now, not on the next tick */
	}
	if (src.wake_up) {
		atomic_set(&woke, 1);
	}
}
static K_WORK_DEFINE(int1_work, int1_work_fn);

static void int1_fired(const struct device *dev, struct gpio_callback *cb, uint32_t pins)
{
	k_work_submit(&int1_work);
}

int imu_who_am_i(void)
{
	uint8_t id;

	if (lsm6dsv16x_device_id_get(&ctx, &id) != 0) {
		return -EIO;
	}
	return id;
}

/* Low-power wake: gyro off, accel low-power at 15 Hz, wake-up event latched on INT1.
 * Threshold 12 x 7.8 mg (~94 mg, high-passed): picking the pod up or strapping it on wakes it,
 * lying on a table doesn't. */
static int wake_mode(void)
{
	int err = 0;
	lsm6dsv16x_act_thresholds_t th = { 0 };
	lsm6dsv16x_act_wkup_time_windows_t win = { .shock = 0, .quiet = 0 };
	lsm6dsv16x_pin_int_route_t route = { 0 };
	lsm6dsv16x_interrupt_mode_t irq = { .enable = 1, .lir = 1 };

	err |= lsm6dsv16x_gy_data_rate_set(&ctx, LSM6DSV16X_ODR_OFF);
	err |= lsm6dsv16x_xl_mode_set(&ctx, LSM6DSV16X_XL_LOW_POWER_2_AVG_MD);
	err |= lsm6dsv16x_xl_data_rate_set(&ctx, LSM6DSV16X_ODR_AT_15Hz);
	th.inactivity_cfg.wu_inact_ths_w = 0;  /* 7.8 mg per step */
	th.threshold = 12;
	th.duration = 0;
	err |= lsm6dsv16x_act_thresholds_set(&ctx, &th);
	err |= lsm6dsv16x_act_wkup_time_windows_set(&ctx, win);
	err |= lsm6dsv16x_interrupt_enable_set(&ctx, irq);
	route.wakeup = 1;
	err |= lsm6dsv16x_pin_int1_route_set(&ctx, &route);
	return err ? -EIO : 0;
}

/* Full rate for the gym: same ranges as the prototype. INT1 = double tap (tap the pod twice to end
 * a set). Tap detection wants a fast accelerometer, so it runs at 480 Hz (sampled at 100 Hz all the same).
 * Threshold TAP_THS x 250 mg (8 g / 32) after the chip's high-pass: a sharp knock on the case, not a rep.
 * Windows at 480 Hz: shock up to 3 x 8 / ODR = 50 ms, quiet 3 x 4 / ODR = 25 ms after each tap,
 * second tap within TAP_GAP x 32 / ODR = ~470 ms. To be tuned on the real board. */
#define TAP_THS  8          /* 2 g */
#define TAP_GAP  7
static int gym_mode(void)
{
	int err = 0;
	lsm6dsv16x_pin_int_route_t route = { 0 };
	lsm6dsv16x_tap_detection_t det = { .tap_x_en = 1, .tap_y_en = 1, .tap_z_en = 1 };
	lsm6dsv16x_tap_thresholds_t ths = { .x = TAP_THS, .y = TAP_THS, .z = TAP_THS };
	lsm6dsv16x_tap_time_windows_t win = { .shock = 3, .quiet = 3, .tap_gap = TAP_GAP };
	lsm6dsv16x_interrupt_mode_t irq = { .enable = 1, .lir = 1 };

	err |= lsm6dsv16x_pin_int1_route_set(&ctx, &route);
	err |= lsm6dsv16x_xl_mode_set(&ctx, LSM6DSV16X_XL_HIGH_PERFORMANCE_MD);
	err |= lsm6dsv16x_gy_mode_set(&ctx, LSM6DSV16X_GY_HIGH_PERFORMANCE_MD);
	err |= lsm6dsv16x_xl_data_rate_set(&ctx, LSM6DSV16X_ODR_AT_480Hz);
	err |= lsm6dsv16x_gy_data_rate_set(&ctx, LSM6DSV16X_ODR_AT_240Hz);
	err |= lsm6dsv16x_tap_detection_set(&ctx, det);
	err |= lsm6dsv16x_tap_thresholds_set(&ctx, ths);
	err |= lsm6dsv16x_tap_axis_priority_set(&ctx, LSM6DSV16X_ZYX);
	err |= lsm6dsv16x_tap_time_windows_set(&ctx, win);
	err |= lsm6dsv16x_tap_mode_set(&ctx, LSM6DSV16X_BOTH_SINGLE_DOUBLE);
	err |= lsm6dsv16x_interrupt_enable_set(&ctx, irq);
	route.double_tap = 1;
	err |= lsm6dsv16x_pin_int1_route_set(&ctx, &route);
	return err ? -EIO : 0;
}

int imu_init(void)
{
	uint8_t id = 0;
	int err = 0;

	if (!spi_is_ready_dt(&bus) || !gpio_is_ready_dt(&int1)) {
		return -ENODEV;
	}
	k_msleep(10);                        /* boot time after power-up */
	if (lsm6dsv16x_device_id_get(&ctx, &id) != 0 || id != LSM6DSV16X_ID) {
		LOG_ERR("no LSM6DSV16X (id 0x%02x)", id);
		return -ENODEV;
	}
	err |= lsm6dsv16x_sw_reset(&ctx);    /* waits for the reset to finish */
	err |= lsm6dsv16x_block_data_update_set(&ctx, 1);
	err |= lsm6dsv16x_xl_full_scale_set(&ctx, LSM6DSV16X_8g);
	err |= lsm6dsv16x_gy_full_scale_set(&ctx, LSM6DSV16X_1000dps);
	if (err) {
		return -EIO;
	}

	gpio_pin_configure_dt(&int1, GPIO_INPUT);
	gpio_init_callback(&int1_cb, int1_fired, BIT(int1.pin));
	gpio_add_callback(int1.port, &int1_cb);
	gpio_pin_interrupt_configure_dt(&int1, GPIO_INT_EDGE_TO_ACTIVE);
	return wake_mode();
}

int imu_active(bool on)
{
	lsm6dsv16x_tap_detection_t off = { 0 };

	atomic_set(&gym_on, on);
	if (!on) {
		lsm6dsv16x_tap_detection_set(&ctx, off);
	}
	return on ? gym_mode() : wake_mode();
}

/* INT1 is latched and the GPIO interrupt is edge-triggered: if an edge is ever missed (an event
 * latched while the pin was being set up or the routing changed), the pin stays high and no new
 * edge comes, so wake-on-motion and taps would stop for good. Checked once a second as a fallback. */
void imu_poll(void)
{
	if (gpio_pin_get_dt(&int1) > 0) {
		k_work_submit(&int1_work);
	}
}

bool imu_take_wake(void)
{
	return atomic_cas(&woke, 1, 0);
}

uint8_t imu_taps(void)
{
	return (uint8_t)atomic_get(&taps);
}

static int16_t clamp16(float v)
{
	return (int16_t)CLAMP(v, INT16_MIN, INT16_MAX);
}

int imu_read(struct sample *s)
{
	int16_t a[3], g[3];

	if (lsm6dsv16x_acceleration_raw_get(&ctx, a) != 0 ||
	    lsm6dsv16x_angular_rate_raw_get(&ctx, g) != 0) {
		return -EIO;
	}
	s->t_ms = (uint16_t)k_uptime_get_32();
	for (int i = 0; i < 3; i++) {
		s->a_mg[i] = clamp16(lsm6dsv16x_from_fs8_to_mg(a[i]));
		s->g_ddps[i] = clamp16(lsm6dsv16x_from_fs1000_to_mdps(g[i]) / 100.0f);
	}
	return 0;
}
```
